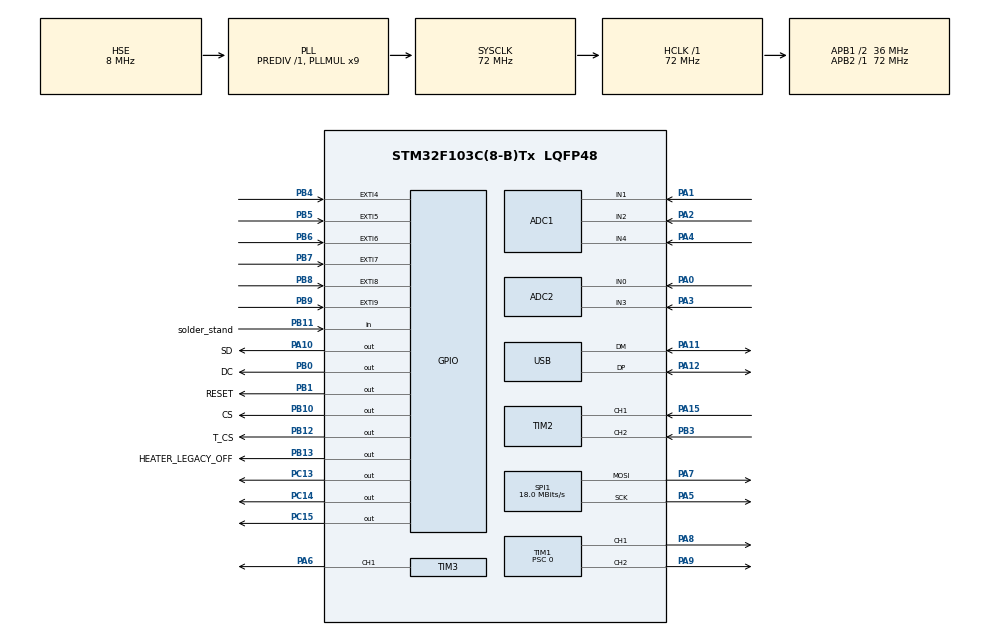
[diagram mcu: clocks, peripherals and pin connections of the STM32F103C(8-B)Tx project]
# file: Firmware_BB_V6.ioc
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ADC1.Channel-0\#ChannelRegularConversion=ADC_CHANNEL_1
ADC1.Channel-1\#ChannelRegularConversion=ADC_CHANNEL_2
ADC1.Channel-2\#ChannelRegularConversion=ADC_CHANNEL_4
ADC1.ContinuousConvMode=ENABLE
ADC1.ExternalTrigConv=ADC_SOFTWARE_START
ADC1.NbrOfConversion=3
ADC1.NbrOfConversionFlag=1
ADC1.Rank-0\#ChannelRegularConversion=1
ADC1.Rank-1\#ChannelRegularConversion=2
ADC1.Rank-2\#ChannelRegularConversion=3
ADC1.SamplingTime-0\#ChannelRegularConversion=ADC_SAMPLETIME_239CYCLES_5
ADC1.SamplingTime-1\#ChannelRegularConversion=ADC_SAMPLETIME_239CYCLES_5
ADC1.SamplingTime-2\#ChannelRegularConversion=ADC_SAMPLETIME_239CYCLES_5
ADC1.master=1
ADC2.Channel-0\#ChannelRegularConversion=ADC_CHANNEL_0
ADC2.ContinuousConvMode=ENABLE
ADC2.NbrOfConversionFlag=1
ADC2.Rank-0\#ChannelRegularConversion=1
ADC2.SamplingTime-0\#ChannelRegularConversion=ADC_SAMPLETIME_71CYCLES_5
Dma.ADC1.0.Direction=DMA_PERIPH_TO_MEMORY
Dma.ADC1.0.Instance=DMA1_Channel1
Dma.ADC1.0.MemDataAlignment=DMA_MDATAALIGN_HALFWORD
Dma.ADC1.0.MemInc=DMA_MINC_ENABLE
Dma.ADC1.0.Mode=DMA_CIRCULAR
Dma.ADC1.0.PeriphDataAlignment=DMA_PDATAALIGN_HALFWORD
Dma.ADC1.0.PeriphInc=DMA_PINC_DISABLE
Dma.ADC1.0.Priority=DMA_PRIORITY_VERY_HIGH
Dma.Request0=ADC1
Mcu.Family=STM32F1
Mcu.Name=STM32F103C(8-B)Tx
Mcu.Package=LQFP48
NVIC.DMA1_Channel1_IRQn=true\:0\:0\:false\:false\:true\:false\:true\:true
NVIC.EXTI4_IRQn=true\:4\:0\:false\:false\:true\:true\:true\:true
NVIC.EXTI9_5_IRQn=true\:4\:0\:false\:false\:true\:true\:true\:true
NVIC.PriorityGroup=NVIC_PRIORITYGROUP_4
NVIC.TIM2_IRQn=true\:4\:0\:false\:false\:true\:true\:true\:true
NVIC.TIM4_IRQn=true\:1\:0\:false\:false\:true\:true\:true\:true
NVIC.USB_LP_CAN1_RX0_IRQn=true\:3\:0\:false\:false\:true\:false\:true\:true
PA0-WKUP.Signal=ADCx_IN0
PA1.Signal=ADCx_IN1
PA10.GPIO_Label=SD
PA10.Signal=GPIO_Output
PA11.Mode=Device
PA11.Signal=USB_DM
PA12.Mode=Device
PA12.Signal=USB_DP
PA13.Mode=Serial_Wire
PA13.Signal=SYS_JTMS-SWDIO
PA14.Mode=Serial_Wire
PA14.Signal=SYS_JTCK-SWCLK
PA15.Signal=S_TIM2_CH1_ETR
PA2.Signal=ADCx_IN2
PA3.Signal=ADCx_IN3
PA4.Signal=ADCx_IN4
PA5.Mode=TX_Only_Simplex_Unidirect_Master
PA5.Signal=SPI1_SCK
PA6.Signal=S_TIM3_CH1
PA7.Mode=TX_Only_Simplex_Unidirect_Master
PA7.Signal=SPI1_MOSI
PA8.Signal=S_TIM1_CH1
PA9.Signal=S_TIM1_CH2
PB0.GPIO_Label=DC
PB0.Signal=GPIO_Output
PB1.GPIO_Label=RESET
PB1.Signal=GPIO_Output
PB10.GPIO_Label=CS
PB10.Signal=GPIO_Output
PB11.GPIO_Label=solder_stand
PB11.GPIO_PuPd=GPIO_PULLUP
PB11.Signal=GPIO_Input
PB12.GPIO_Label=T_CS
PB12.Signal=GPIO_Output
PB13.GPIO_Label=HEATER_LEGACY_OFF
PB13.GPIO_PuPd=GPIO_NOPULL
PB13.Signal=GPIO_Output
PB3.Signal=S_TIM2_CH2
PB4.GPIO_ModeDefaultEXTI=GPIO_MODE_IT_RISING_FALLING
PB4.GPIO_PuPd=GPIO_PULLUP
PB4.Signal=GPXTI4
PB5.GPIO_ModeDefaultEXTI=GPIO_MODE_IT_RISING_FALLING
PB5.GPIO_PuPd=GPIO_PULLUP
PB5.Signal=GPXTI5
PB6.GPIO_ModeDefaultEXTI=GPIO_MODE_IT_RISING_FALLING
PB6.GPIO_PuPd=GPIO_PULLUP
PB6.Signal=GPXTI6
PB7.GPIO_ModeDefaultEXTI=GPIO_MODE_IT_RISING_FALLING
PB7.GPIO_PuPd=GPIO_PULLUP
PB7.Signal=GPXTI7
PB8.Signal=GPXTI8
PB9.GPIO_ModeDefaultEXTI=GPIO_MODE_IT_RISING_FALLING
PB9.GPIO_PuPd=GPIO_PULLUP
PB9.Signal=GPXTI9
PC13-TAMPER-RTC.Signal=GPIO_Output
PC14-OSC32_IN.Signal=GPIO_Output
PC15-OSC32_OUT.Signal=GPIO_Output
PD0-OSC_IN.Mode=HSE-External-Oscillator
PD0-OSC_IN.Signal=RCC_OSC_IN
PD1-OSC_OUT.Mode=HSE-External-Oscillator
PD1-OSC_OUT.Signal=RCC_OSC_OUT
ProjectManager.HeapSize=0x200
ProjectManager.StackSize=0xC00
ProjectManager.TargetToolchain=MDK-ARM V5.32
RCC.ADCPresc=RCC_ADCPCLK2_DIV6
RCC.AHBFreq_Value=72000000
RCC.APB1CLKDivider=RCC_HCLK_DIV2
RCC.APB1Freq_Value=36000000
RCC.APB1TimFreq_Value=72000000
RCC.APB2Freq_Value=72000000
RCC.APB2TimFreq_Value=72000000
RCC.HCLKFreq_Value=72000000
RCC.PLLMUL=RCC_PLL_MUL9
RCC.PLLSourceVirtual=RCC_PLLSOURCE_HSE
RCC.SYSCLKFreq_VALUE=72000000
RCC.SYSCLKSource=RCC_SYSCLKSOURCE_PLLCLK
RCC.USBFreq_Value=48000000
RCC.USBPrescaler=RCC_USBCLKSOURCE_PLL_DIV1_5
SH.ADCx_IN0.0=ADC2_IN0,IN0
SH.ADCx_IN1.0=ADC1_IN1,IN1
SH.ADCx_IN2.0=ADC1_IN2,IN2
SH.ADCx_IN3.0=ADC2_IN3,IN3
SH.ADCx_IN4.0=ADC1_IN4,IN4
SH.S_TIM1_CH1.0=TIM1_CH1,PWM Generation1 CH1
SH.S_TIM1_CH2.0=TIM1_CH2,PWM Generation2 CH2
SH.S_TIM2_CH1_ETR.0=TIM2_CH1,Encoder_Interface
SH.S_TIM2_CH2.0=TIM2_CH2,Encoder_Interface
SH.S_TIM3_CH1.0=TIM3_CH1,PWM Generation1 CH1
SPI1.BaudRatePrescaler=SPI_BAUDRATEPRESCALER_4
SPI1.CalculateBaudRate=18.0 MBits/s
SPI1.Direction=SPI_DIRECTION_2LINES
SPI1.Mode=SPI_MODE_MASTER
SPI1.VirtualType=VM_MASTER
TIM1.AutoReloadPreload=TIM_AUTORELOAD_PRELOAD_ENABLE
TIM1.Channel-PWM\ Generation1\ CH1=TIM_CHANNEL_1
TIM1.Channel-PWM\ Generation2\ CH2=TIM_CHANNEL_2
TIM1.OffStateIDLEMode=TIM_OSSI_ENABLE
TIM1.OffStateRunMode=TIM_OSSR_ENABLE
TIM1.Period=2879
TIM1.Prescaler=0
TIM2.EncoderMode=TIM_ENCODERMODE_TI12
TIM2.IC1Filter=8
TIM2.IC2Filter=8
TIM3.AutoReloadPreload=TIM_AUTORELOAD_PRELOAD_ENABLE
TIM3.Channel-PWM\ Generation1\ CH1=TIM_CHANNEL_1
TIM3.OCPolarity_1=TIM_OCPOLARITY_HIGH
TIM3.Period=7199
TIM3.Prescaler=0
TIM4.Period=999
TIM4.Prescaler=71
USB_DEVICE.CLASS_NAME_FS=CDC
USB_DEVICE.VirtualMode=Cdc
USB_DEVICE.VirtualModeFS=Cdc_FS
VP_TIM1_VS_ClockSourceINT.Mode=Internal
VP_TIM3_VS_ClockSourceINT.Mode=Internal
VP_TIM4_VS_ClockSourceINT.Mode=Internal
VP_USB_DEVICE_VS_USB_DEVICE_CDC_FS.Mode=CDC_FS
board=custom

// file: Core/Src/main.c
/* USER CODE BEGIN Header */
/**
  ******************************************************************************
  * @file           : main.c
  * @brief          : Main program body
  ******************************************************************************
  * @attention
  *
  * Copyright (c) 2026 STMicroelectronics.
  * All rights reserved.
  *
  * This software is licensed under terms that can be found in the LICENSE file
  * in the root directory of this software component.
  * If no LICENSE file comes with this software, it is provided AS-IS.
  *
  ******************************************************************************
  */
/* USER CODE END Header */
#include "main.h"
#include "usb_device.h"

/* USER CODE BEGIN Includes */
#include "psu_app.h"
  /* USER CODE END Includes */

ADC_HandleTypeDef hadc1;
ADC_HandleTypeDef hadc2;
DMA_HandleTypeDef hdma_adc1;

SPI_HandleTypeDef hspi1;

TIM_HandleTypeDef htim1;
TIM_HandleTypeDef htim2;
TIM_HandleTypeDef htim3;
TIM_HandleTypeDef htim4;

void SystemClock_Config(void);
static void MX_GPIO_Init(void);
static void MX_DMA_Init(void);
static void MX_ADC1_Init(void);
static void MX_ADC2_Init(void);
static void MX_SPI1_Init(void);
static void MX_TIM1_Init(void);
static void MX_TIM2_Init(void);
static void MX_TIM3_Init(void);
static void MX_TIM4_Init(void);

int main(void)
{

  /* MCU Configuration--------------------------------------------------------*/

  /* Reset of all peripherals, Initializes the Flash interface and the Systick. */
  HAL_Init();

  /* Configure the system clock */
  SystemClock_Config();

  /* USER CODE BEGIN SysInit */
  if(PSU_PA6_PWM_PIN_TEST){
    /* Diagnostic only: no peripheral initializer, including SPI1, runs. */
    PsuApp_PinTestInit();
    for(;;){__WFI();}
  }
  /* USER CODE END SysInit */

  /* Initialize all configured peripherals */
  MX_GPIO_Init();
  MX_DMA_Init();
  MX_ADC1_Init();
  MX_ADC2_Init();
  if(!PSU_LCD_SOFT_SPI) MX_SPI1_Init();
  MX_TIM1_Init();
  MX_TIM2_Init();
  MX_USB_DEVICE_Init();
  MX_TIM3_Init();
  MX_TIM4_Init();
  /* USER CODE BEGIN 2 */
  if(PSU_PA6_PWM_PIN_TEST) PsuApp_PinTestInit();
  else PsuApp_Init();
  /* USER CODE END 2 */

  /* Infinite loop */
  while (1)
  {

    /* USER CODE BEGIN 3 */
    if(PSU_PA6_PWM_PIN_TEST) { __WFI(); }
    else PsuApp_Poll();
  }
  /* USER CODE END 3 */
}

void SystemClock_Config(void)
{
  RCC_OscInitTypeDef RCC_OscInitStruct = {0};
  RCC_ClkInitTypeDef RCC_ClkInitStruct = {0};
  RCC_PeriphCLKInitTypeDef PeriphClkInit = {0};

  /** Initializes the RCC Oscillators according to the specified parameters
  * in the RCC_OscInitTypeDef structure.
  */
  RCC_OscInitStruct.OscillatorType = RCC_OSCILLATORTYPE_HSE;
  RCC_OscInitStruct.HSEState = RCC_HSE_ON;
  RCC_OscInitStruct.HSEPredivValue = RCC_HSE_PREDIV_DIV1;
  RCC_OscInitStruct.HSIState = RCC_HSI_ON;
  RCC_OscInitStruct.PLL.PLLState = RCC_PLL_ON;
  RCC_OscInitStruct.PLL.PLLSource = RCC_PLLSOURCE_HSE;
  RCC_OscInitStruct.PLL.PLLMUL = RCC_PLL_MUL9;
  if (HAL_RCC_OscConfig(&RCC_OscInitStruct) != HAL_OK)
  {
    Error_Handler();
  }

  /** Initializes the CPU, AHB and APB buses clocks
  */
  RCC_ClkInitStruct.ClockType = RCC_CLOCKTYPE_HCLK|RCC_CLOCKTYPE_SYSCLK
                              |RCC_CLOCKTYPE_PCLK1|RCC_CLOCKTYPE_PCLK2;
  RCC_ClkInitStruct.SYSCLKSource = RCC_SYSCLKSOURCE_PLLCLK;
  RCC_ClkInitStruct.AHBCLKDivider = RCC_SYSCLK_DIV1;
  RCC_ClkInitStruct.APB1CLKDivider = RCC_HCLK_DIV2;
  RCC_ClkInitStruct.APB2CLKDivider = RCC_HCLK_DIV1;

  if (HAL_RCC_ClockConfig(&RCC_ClkInitStruct, FLASH_LATENCY_2) != HAL_OK)
  {
    Error_Handler();
  }
  PeriphClkInit.PeriphClockSelection = RCC_PERIPHCLK_ADC|RCC_PERIPHCLK_USB;
  PeriphClkInit.AdcClockSelection = RCC_ADCPCLK2_DIV6;
  PeriphClkInit.UsbClockSelection = RCC_USBCLKSOURCE_PLL_DIV1_5;
  if (HAL_RCCEx_PeriphCLKConfig(&PeriphClkInit) != HAL_OK)
  {
    Error_Handler();
  }
}

static void MX_ADC1_Init(void)
{

  ADC_ChannelConfTypeDef sConfig = {0};

  /** Common config
  */
  hadc1.Instance = ADC1;
  hadc1.Init.ScanConvMode = ADC_SCAN_ENABLE;
  hadc1.Init.ContinuousConvMode = ENABLE;
  hadc1.Init.DiscontinuousConvMode = DISABLE;
  hadc1.Init.ExternalTrigConv = ADC_SOFTWARE_START;
  hadc1.Init.DataAlign = ADC_DATAALIGN_RIGHT;
  hadc1.Init.NbrOfConversion = 3;
  if (HAL_ADC_Init(&hadc1) != HAL_OK)
  {
    Error_Handler();
  }

  /** Configure Regular Channel
  */
  sConfig.Channel = ADC_CHANNEL_1;
  sConfig.Rank = ADC_REGULAR_RANK_1;
  sConfig.SamplingTime = ADC_SAMPLETIME_239CYCLES_5;
  if (HAL_ADC_ConfigChannel(&hadc1, &sConfig) != HAL_OK)
  {
    Error_Handler();
  }

  /** Configure Regular Channel
  */
  sConfig.Channel = ADC_CHANNEL_2;
  sConfig.Rank = ADC_REGULAR_RANK_2;
  if (HAL_ADC_ConfigChannel(&hadc1, &sConfig) != HAL_OK)
  {
    Error_Handler();
  }

  /** Configure Regular Channel
  */
  sConfig.Channel = ADC_CHANNEL_4;
  sConfig.Rank = ADC_REGULAR_RANK_3;
  if (HAL_ADC_ConfigChannel(&hadc1, &sConfig) != HAL_OK)
  {
    Error_Handler();
  }

}

static void MX_ADC2_Init(void)
{

  ADC_ChannelConfTypeDef sConfig = {0};

  /** Common config
  */
  hadc2.Instance = ADC2;
  hadc2.Init.ScanConvMode = ADC_SCAN_DISABLE;
  hadc2.Init.ContinuousConvMode = ENABLE;
  hadc2.Init.DiscontinuousConvMode = DISABLE;
  hadc2.Init.ExternalTrigConv = ADC_SOFTWARE_START;
  hadc2.Init.DataAlign = ADC_DATAALIGN_RIGHT;
  hadc2.Init.NbrOfConversion = 1;
  if (HAL_ADC_Init(&hadc2) != HAL_OK)
  {
    Error_Handler();
  }

  /** Configure Regular Channel
  */
  sConfig.Channel = ADC_CHANNEL_0;
  sConfig.Rank = ADC_REGULAR_RANK_1;
  sConfig.SamplingTime = ADC_SAMPLETIME_71CYCLES_5;
  if (HAL_ADC_ConfigChannel(&hadc2, &sConfig) != HAL_OK)
  {
    Error_Handler();
  }
  /* USER CODE BEGIN ADC2_Init 2 */
  /* PA3 tip temperature: injected conversion, regular PA0 remains NTC.
     JL=0 uses JSQ4; JEXTSEL=111 selects JSWSTART (RM0008). */
  ADC2->JSQR = 3u << ADC_JSQR_JSQ4_Pos;
  ADC2->SMPR2 |= ADC_SMPR2_SMP3;
  ADC2->CR2 = (ADC2->CR2 & ~ADC_CR2_JEXTSEL) | ADC_INJECTED_SOFTWARE_START;
  /* USER CODE END ADC2_Init 2 */

}

static void MX_SPI1_Init(void)
{

  /* SPI1 parameter configuration*/
  hspi1.Instance = SPI1;
  hspi1.Init.Mode = SPI_MODE_MASTER;
  hspi1.Init.Direction = SPI_DIRECTION_2LINES;
  hspi1.Init.DataSize = SPI_DATASIZE_8BIT;
  hspi1.Init.CLKPolarity = SPI_POLARITY_LOW;
  hspi1.Init.CLKPhase = SPI_PHASE_1EDGE;
  hspi1.Init.NSS = SPI_NSS_SOFT;
  hspi1.Init.BaudRatePrescaler = SPI_BAUDRATEPRESCALER_2;
  hspi1.Init.FirstBit = SPI_FIRSTBIT_MSB;
  hspi1.Init.TIMode = SPI_TIMODE_DISABLE;
  hspi1.Init.CRCCalculation = SPI_CRCCALCULATION_DISABLE;
  hspi1.Init.CRCPolynomial = 10;
  if (HAL_SPI_Init(&hspi1) != HAL_OK)
  {
    Error_Handler();
  }
  /* USER CODE BEGIN SPI1_Init 2 */
  /* Transmit Only Master: MOSI output, no receive path. */
  SPI_1LINE_TX(&hspi1);
  /* USER CODE END SPI1_Init 2 */

}

static void MX_TIM1_Init(void)
{

  TIM_ClockConfigTypeDef sClockSourceConfig = {0};
  TIM_MasterConfigTypeDef sMasterConfig = {0};
  TIM_OC_InitTypeDef sConfigOC = {0};
  TIM_BreakDeadTimeConfigTypeDef sBreakDeadTimeConfig = {0};

  htim1.Instance = TIM1;
  htim1.Init.Prescaler = 0;
  htim1.Init.CounterMode = TIM_COUNTERMODE_UP;
  htim1.Init.Period = 2879;
  htim1.Init.ClockDivision = TIM_CLOCKDIVISION_DIV1;
  htim1.Init.RepetitionCounter = 0;
  htim1.Init.AutoReloadPreload = TIM_AUTORELOAD_PRELOAD_ENABLE;
  if (HAL_TIM_Base_Init(&htim1) != HAL_OK)
  {
    Error_Handler();
  }
  sClockSourceConfig.ClockSource = TIM_CLOCKSOURCE_INTERNAL;
  if (HAL_TIM_ConfigClockSource(&htim1, &sClockSourceConfig) != HAL_OK)
  {
    Error_Handler();
  }
  if (HAL_TIM_PWM_Init(&htim1) != HAL_OK)
  {
    Error_Handler();
  }
  sMasterConfig.MasterOutputTrigger = TIM_TRGO_RESET;
  sMasterConfig.MasterSlaveMode = TIM_MASTERSLAVEMODE_DISABLE;
  if (HAL_TIMEx_MasterConfigSynchronization(&htim1, &sMasterConfig) != HAL_OK)
  {
    Error_Handler();
  }
  sConfigOC.OCMode = TIM_OCMODE_PWM1;
  sConfigOC.Pulse = 0;
  sConfigOC.OCPolarity = TIM_OCPOLARITY_HIGH;
  sConfigOC.OCNPolarity = TIM_OCNPOLARITY_HIGH;
  sConfigOC.OCFastMode = TIM_OCFAST_DISABLE;
  sConfigOC.OCIdleState = TIM_OCIDLESTATE_RESET;
  sConfigOC.OCNIdleState = TIM_OCNIDLESTATE_RESET;
  if (HAL_TIM_PWM_ConfigChannel(&htim1, &sConfigOC, TIM_CHANNEL_1) != HAL_OK)
  {
    Error_Handler();
  }
  if (HAL_TIM_PWM_ConfigChannel(&htim1, &sConfigOC, TIM_CHANNEL_2) != HAL_OK)
  {
    Error_Handler();
  }
  sBreakDeadTimeConfig.OffStateRunMode = TIM_OSSR_ENABLE;
  sBreakDeadTimeConfig.OffStateIDLEMode = TIM_OSSI_ENABLE;
  sBreakDeadTimeConfig.LockLevel = TIM_LOCKLEVEL_OFF;
  sBreakDeadTimeConfig.DeadTime = 0;
  sBreakDeadTimeConfig.BreakState = TIM_BREAK_DISABLE;
  sBreakDeadTimeConfig.BreakPolarity = TIM_BREAKPOLARITY_HIGH;
  sBreakDeadTimeConfig.AutomaticOutput = TIM_AUTOMATICOUTPUT_DISABLE;
  if (HAL_TIMEx_ConfigBreakDeadTime(&htim1, &sBreakDeadTimeConfig) != HAL_OK)
  {
    Error_Handler();
  }
  HAL_TIM_MspPostInit(&htim1);

}

static void MX_TIM2_Init(void)
{

  TIM_Encoder_InitTypeDef sConfig = {0};
  TIM_MasterConfigTypeDef sMasterConfig = {0};

  htim2.Instance = TIM2;
  htim2.Init.Prescaler = 0;
  htim2.Init.CounterMode = TIM_COUNTERMODE_UP;
  htim2.Init.Period = 65535;
  htim2.Init.ClockDivision = TIM_CLOCKDIVISION_DIV1;
  htim2.Init.AutoReloadPreload = TIM_AUTORELOAD_PRELOAD_DISABLE;
  sConfig.EncoderMode = TIM_ENCODERMODE_TI12;
  sConfig.IC1Polarity = TIM_ICPOLARITY_RISING;
  sConfig.IC1Selection = TIM_ICSELECTION_DIRECTTI;
  sConfig.IC1Prescaler = TIM_ICPSC_DIV1;
  sConfig.IC1Filter = 8;
  sConfig.IC2Polarity = TIM_ICPOLARITY_RISING;
  sConfig.IC2Selection = TIM_ICSELECTION_DIRECTTI;
  sConfig.IC2Prescaler = TIM_ICPSC_DIV1;
  sConfig.IC2Filter = 8;
  if (HAL_TIM_Encoder_Init(&htim2, &sConfig) != HAL_OK)
  {
    Error_Handler();
  }
  sMasterConfig.MasterOutputTrigger = TIM_TRGO_RESET;
  sMasterConfig.MasterSlaveMode = TIM_MASTERSLAVEMODE_DISABLE;
  if (HAL_TIMEx_MasterConfigSynchronization(&htim2, &sMasterConfig) != HAL_OK)
  {
    Error_Handler();
  }

}

static void MX_TIM3_Init(void)
{

  TIM_ClockConfigTypeDef sClockSourceConfig = {0};
  TIM_MasterConfigTypeDef sMasterConfig = {0};
  TIM_OC_InitTypeDef sConfigOC = {0};

  htim3.Instance = TIM3;
  htim3.Init.Prescaler = 71;
  htim3.Init.CounterMode = TIM_COUNTERMODE_UP;
  htim3.Init.Period = 999;
  htim3.Init.ClockDivision = TIM_CLOCKDIVISION_DIV1;
  htim3.Init.AutoReloadPreload = TIM_AUTORELOAD_PRELOAD_ENABLE;
  if (HAL_TIM_Base_Init(&htim3) != HAL_OK)
  {
    Error_Handler();
  }
  sClockSourceConfig.ClockSource = TIM_CLOCKSOURCE_INTERNAL;
  if (HAL_TIM_ConfigClockSource(&htim3, &sClockSourceConfig) != HAL_OK)
  {
    Error_Handler();
  }
  if (HAL_TIM_PWM_Init(&htim3) != HAL_OK)
  {
    Error_Handler();
  }
  sMasterConfig.MasterOutputTrigger = TIM_TRGO_RESET;
  sMasterConfig.MasterSlaveMode = TIM_MASTERSLAVEMODE_DISABLE;
  if (HAL_TIMEx_MasterConfigSynchronization(&htim3, &sMasterConfig) != HAL_OK)
  {
    Error_Handler();
  }
  sConfigOC.OCMode = TIM_OCMODE_PWM1;
  sConfigOC.Pulse = 0;
  sConfigOC.OCPolarity = TIM_OCPOLARITY_HIGH;
  sConfigOC.OCFastMode = TIM_OCFAST_DISABLE;
  if (HAL_TIM_PWM_ConfigChannel(&htim3, &sConfigOC, TIM_CHANNEL_1) != HAL_OK)
  {
    Error_Handler();
  }
  HAL_TIM_MspPostInit(&htim3);

}

static void MX_TIM4_Init(void)
{

  TIM_ClockConfigTypeDef sClockSourceConfig = {0};
  TIM_MasterConfigTypeDef sMasterConfig = {0};

  htim4.Instance = TIM4;
  htim4.Init.Prescaler = 0;
  htim4.Init.CounterMode = TIM_COUNTERMODE_UP;
  htim4.Init.Period = 7199;
  htim4.Init.ClockDivision = TIM_CLOCKDIVISION_DIV1;
  htim4.Init.AutoReloadPreload = TIM_AUTORELOAD_PRELOAD_DISABLE;
  if (HAL_TIM_Base_Init(&htim4) != HAL_OK)
  {
    Error_Handler();
  }
  sClockSourceConfig.ClockSource = TIM_CLOCKSOURCE_INTERNAL;
  if (HAL_TIM_ConfigClockSource(&htim4, &sClockSourceConfig) != HAL_OK)
  {
    Error_Handler();
  }
  sMasterConfig.MasterOutputTrigger = TIM_TRGO_RESET;
  sMasterConfig.MasterSlaveMode = TIM_MASTERSLAVEMODE_DISABLE;
  if (HAL_TIMEx_MasterConfigSynchronization(&htim4, &sMasterConfig) != HAL_OK)
  {
    Error_Handler();
  }

}

static void MX_DMA_Init(void)
{

  /* DMA controller clock enable */
  __HAL_RCC_DMA1_CLK_ENABLE();

  /* DMA interrupt init */
  /* DMA1_Channel1_IRQn interrupt configuration */
  HAL_NVIC_SetPriority(DMA1_Channel1_IRQn, 0, 0);
  HAL_NVIC_EnableIRQ(DMA1_Channel1_IRQn);

}

static void MX_GPIO_Init(void)
{
  GPIO_InitTypeDef GPIO_InitStruct = {0};

  /* GPIO Ports Clock Enable */
  __HAL_RCC_GPIOC_CLK_ENABLE();
  __HAL_RCC_GPIOD_CLK_ENABLE();
  __HAL_RCC_GPIOA_CLK_ENABLE();
  __HAL_RCC_GPIOB_CLK_ENABLE();

  /*Configure GPIO pin Output Level */
  HAL_GPIO_WritePin(GPIOC, GPIO_PIN_13|GPIO_PIN_14|GPIO_PIN_15, GPIO_PIN_RESET);

  /*Configure GPIO pin Output Level */
  HAL_GPIO_WritePin(GPIOB, DC_Pin|RESET_Pin|CS_Pin|T_CS_Pin
                          |HEATER_LEGACY_OFF_Pin, GPIO_PIN_RESET);

  /*Configure GPIO pin Output Level */
  HAL_GPIO_WritePin(SD_GPIO_Port, SD_Pin, GPIO_PIN_RESET);

  /*Configure GPIO pins : PC13 PC14 PC15 */
  GPIO_InitStruct.Pin = GPIO_PIN_13|GPIO_PIN_14|GPIO_PIN_15;
  GPIO_InitStruct.Mode = GPIO_MODE_OUTPUT_PP;
  GPIO_InitStruct.Pull = GPIO_NOPULL;
  GPIO_InitStruct.Speed = GPIO_SPEED_FREQ_LOW;
  HAL_GPIO_Init(GPIOC, &GPIO_InitStruct);

  /*Configure GPIO pins : DC_Pin RESET_Pin CS_Pin T_CS_Pin
                           HEATER_LEGACY_OFF_Pin */
  GPIO_InitStruct.Pin = DC_Pin|RESET_Pin|CS_Pin|T_CS_Pin
                          |HEATER_LEGACY_OFF_Pin;
  GPIO_InitStruct.Mode = GPIO_MODE_OUTPUT_PP;
  GPIO_InitStruct.Pull = GPIO_NOPULL;
  GPIO_InitStruct.Speed = GPIO_SPEED_FREQ_LOW;
  HAL_GPIO_Init(GPIOB, &GPIO_InitStruct);

  /*Configure GPIO pin : solder_stand_Pin */
  GPIO_InitStruct.Pin = solder_stand_Pin;
  GPIO_InitStruct.Mode = GPIO_MODE_INPUT;
  GPIO_InitStruct.Pull = GPIO_PULLUP;
  HAL_GPIO_Init(solder_stand_GPIO_Port, &GPIO_InitStruct);

  /*Configure GPIO pins : PB4 PB5 PB6 PB7
                           PB8 PB9 */
  GPIO_InitStruct.Pin = GPIO_PIN_4|GPIO_PIN_5|GPIO_PIN_6|GPIO_PIN_7
                          |GPIO_PIN_8|GPIO_PIN_13;
  GPIO_InitStruct.Mode = GPIO_MODE_IT_RISING_FALLING;
  GPIO_InitStruct.Pull = GPIO_PULLUP;
  HAL_GPIO_Init(GPIOB, &GPIO_InitStruct);

  /* EXTI interrupt init*/
  HAL_NVIC_SetPriority(EXTI4_IRQn, 4, 0);
  HAL_NVIC_EnableIRQ(EXTI4_IRQn);

  HAL_NVIC_SetPriority(EXTI9_5_IRQn, 4, 0);
  HAL_NVIC_EnableIRQ(EXTI9_5_IRQn);

  /* USER CODE BEGIN MX_GPIO_Init_2 */
  /* Driver SD LOW; active-HIGH heater latched LOW (OFF). */
  HAL_GPIO_WritePin(SD_GPIO_Port,SD_Pin,GPIO_PIN_RESET);
  HAL_GPIO_WritePin(HEATER_GPIO_Port,HEATER_Pin,GPIO_PIN_RESET);
  GPIO_InitStruct.Pin=SD_Pin;
  GPIO_InitStruct.Mode=GPIO_MODE_OUTPUT_PP;
  GPIO_InitStruct.Pull=GPIO_NOPULL;
  GPIO_InitStruct.Speed=GPIO_SPEED_FREQ_LOW;
  HAL_GPIO_Init(SD_GPIO_Port,&GPIO_InitStruct);
  GPIO_InitStruct.Pin=HEATER_Pin;
  HAL_GPIO_Init(HEATER_GPIO_Port,&GPIO_InitStruct);
  GPIO_InitStruct.Mode=GPIO_MODE_IT_RISING_FALLING;
  GPIO_InitStruct.Pull=GPIO_PULLUP;
  GPIO_InitStruct.Pin=GPIO_PIN_13;
  HAL_GPIO_Init(GPIOB,&GPIO_InitStruct);
  GPIO_InitStruct.Pin=GPIO_PIN_11;
  GPIO_InitStruct.Mode=GPIO_MODE_INPUT;
  GPIO_InitStruct.Pull=GPIO_PULLUP;
  HAL_GPIO_Init(GPIOB,&GPIO_InitStruct);
  /* USER CODE END MX_GPIO_Init_2 */
}

void Error_Handler(void)
{
  /* USER CODE BEGIN Error_Handler_Debug */
  PsuApp_EmergencyOff();
  __disable_irq();
  while (1) { }
  /* USER CODE END Error_Handler_Debug */
}
